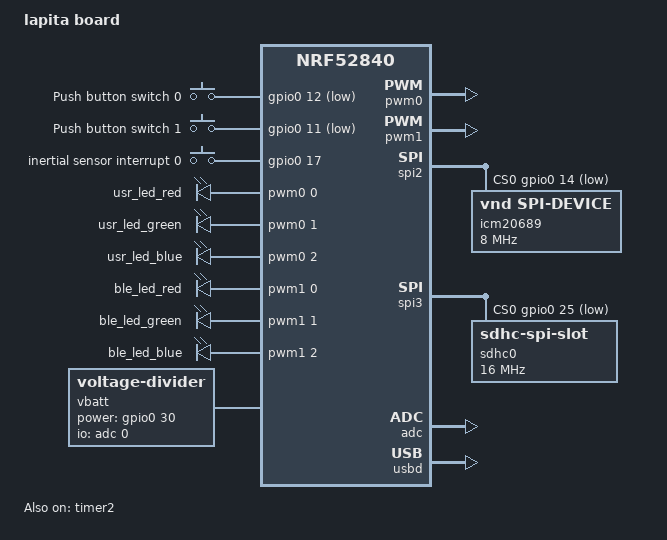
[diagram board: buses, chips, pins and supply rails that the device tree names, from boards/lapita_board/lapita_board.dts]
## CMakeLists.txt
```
#
# Copyright (c) 2018 Nordic Semiconductor
#
# SPDX-License-Identifier: LicenseRef-Nordic-5-Clause
#
cmake_minimum_required(VERSION 3.20.0)

find_package(Zephyr REQUIRED HINTS $ENV{ZEPHYR_BASE})
project(peripheral_lbs_1)

# NORDIC SDK APP START
target_sources(app PRIVATE
  src/main.c
)

# Add PID_v1.h and pid.cpp
#target_sources(app PRIVATE
#  src/*.cpp
#)
#啟用cpp
#target_compile_features(app PRIVATE cxx_std_11)
#set_property(TARGET app PROPERTY CXX_STANDARD 11)
#set_property(TARGET app PROPERTY CXX_STANDARD_REQUIRED ON)
#target_include_directories(app PRIVATE include)

#target_include_directories(app PRIVATE
#  ${CMAKE_CURRENT_SOURCE_DIR}/src

# Preinitialization related to Thingy:53 DFU
target_sources_ifdef(CONFIG_BOARD_THINGY53_NRF5340_CPUAPP app PRIVATE
  boards/thingy53.c
)
target_sources_ifdef(CONFIG_BOARD_THINGY53_NRF5340_CPUAPP_NS app PRIVATE
  boards/thingy53.c
)


# NORDIC SDK APP END
zephyr_library_include_directories(.)
```

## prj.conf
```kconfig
#
# Copyright (c) 2018 Nordic Semiconductor
#
# SPDX-License-Identifier: LicenseRef-Nordic-5-Clause
#
CONFIG_NCS_SAMPLES_DEFAULTS=y

CONFIG_BT=y
CONFIG_BT_PERIPHERAL=y
CONFIG_BT_DEVICE_NAME="Nordic_LBS"

# Enable the LBS service
CONFIG_BT_LBS=y
CONFIG_BT_LBS_POLL_BUTTON=y
CONFIG_DK_LIBRARY=y

CONFIG_SYSTEM_WORKQUEUE_STACK_SIZE=2048

CONFIG_SHELL=y
CONFIG_I2C=y
CONFIG_I2C_SHELL=y

CONFIG_LOG=n

CONFIG_SENSOR=y
CONFIG_SHT3XD=y

#enable cpp
#CONFIG_CPLUSPLUS=y
#CONFIG_STD_CPP17=y
#CONFIG_LIB_CPLUSPLUS=y
#CONFIG_NEWLIB_LIBC=y
```

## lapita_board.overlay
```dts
// To get started, press Ctrl+Space to bring up the completion menu and view the available nodes.

// You can also use the buttons in the sidebar to perform actions on nodes.
// Actions currently available include:

// * Enabling / disabling the node
// * Adding the bus to a bus
// * Removing the node
// * Connecting ADC channels

// For more help, browse the DeviceTree documentation at https: //docs.zephyrproject.org/latest/guides/dts/index.html
// You can also visit the nRF DeviceTree extension documentation at https: //nrfconnect.github.io/vscode-nrf-connect/devicetree/nrfdevicetree.html
&pinctrl {
	i2c0_default: i2c0_default {
		group1 {
			psels = <NRF_PSEL(TWIM_SDA, 0,7)>,
					<NRF_PSEL(TWIM_SCL, 1,9)>;
		};
	};

	i2c0_sleep: i2c0_sleep {
		group1 {
			psels = <NRF_PSEL(TWIM_SDA, 0,7)>,
					<NRF_PSEL(TWIM_SCL, 1,9)>;
			low-power-enable;
		};
	};
};

&i2c0 {
	status = "okay";
	pinctrl-0 = <&i2c0_default>;
	pinctrl-1 = <&i2c0_sleep>;
	pinctrl-names = "default", "sleep";
	mcp7940n: i2c-device@6F {
		compatible = "microchip,mcp7940n";
		reg = <0x6F>;
	};
	sht3xd@44 {
		compatible = "sensirion,sht3xd";
		reg = <0x44>;
	};
};
```

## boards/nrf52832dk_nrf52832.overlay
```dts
/*
 * Copyright (c) 2018-2019 Peter Bigot Consulting, LLC
 *
 * SPDX-License-Identifier: Apache-2.0
 */

&i2c0 {/* SDA P0.26, SCL P0.27, ALERT P1.10 */
	sht3xd@44 {
		compatible = "sensirion,sht3xd";
		reg = <0x44>;
		alert-gpios = <&gpio1 10 GPIO_ACTIVE_HIGH>;
	};
};
```

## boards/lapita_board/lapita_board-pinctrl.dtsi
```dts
// Copyright (c) 2023 Nordic Semiconductor ASA
// SPDX-License-Identifier: Apache-2.0

&pinctrl {
	spi3_default: spi3_default {
		group1 {
			psels = <NRF_PSEL(SPIM_SCK, 0, 19)>,
			        <NRF_PSEL(SPIM_MOSI, 0, 23)>,
			        <NRF_PSEL(SPIM_MISO, 0, 21)>;
		};
	};

	spi3_sleep: spi3_sleep {
		group1 {
			psels = <NRF_PSEL(SPIM_SCK, 0, 19)>,
			        <NRF_PSEL(SPIM_MOSI, 0, 23)>,
			        <NRF_PSEL(SPIM_MISO, 0, 21)>;
			low-power-enable;
		};
	};

	spi2_default: spi2_default {
		group1 {
			psels = <NRF_PSEL(SPIM_SCK, 0, 13)>,
			        <NRF_PSEL(SPIM_MOSI, 0, 15)>,
			        <NRF_PSEL(SPIM_MISO, 0, 16)>;
		};
	};

	spi2_sleep: spi2_sleep {
		group1 {
			psels = <NRF_PSEL(SPIM_SCK, 0, 13)>,
			        <NRF_PSEL(SPIM_MOSI, 0, 15)>,
			        <NRF_PSEL(SPIM_MISO, 0, 16)>;
			low-power-enable;
		};
	};

	pwm0_default: pwm0_default {
		group1 {
			psels = <NRF_PSEL(PWM_OUT0, 1, 1)>,
			        <NRF_PSEL(PWM_OUT1, 1, 3)>,
			        <NRF_PSEL(PWM_OUT2, 1, 5)>;
			nordic,invert;
		};
	};

	pwm0_sleep: pwm0_sleep {
		group1 {
			psels = <NRF_PSEL(PWM_OUT0, 1, 1)>,
			        <NRF_PSEL(PWM_OUT1, 1, 3)>,
			        <NRF_PSEL(PWM_OUT2, 1, 5)>;
			low-power-enable;
		};
	};

	pwm1_default: pwm1_default {
		group1 {
			psels = <NRF_PSEL(PWM_OUT0, 1, 7)>,
			        <NRF_PSEL(PWM_OUT1, 1, 6)>,
			        <NRF_PSEL(PWM_OUT2, 1, 4)>;
			nordic,invert;
		};
	};

	pwm1_sleep: pwm1_sleep {
		group1 {
			psels = <NRF_PSEL(PWM_OUT0, 1, 7)>,
			        <NRF_PSEL(PWM_OUT1, 1, 6)>,
			        <NRF_PSEL(PWM_OUT2, 1, 4)>;
			low-power-enable;
		};
	};
};
```

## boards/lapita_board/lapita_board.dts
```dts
// Copyright (c) 2023 Nordic Semiconductor ASA
// SPDX-License-Identifier: Apache-2.0

/dts-v1/;
#include <nordic/nrf52840_qiaa.dtsi>
#include "lapita_board-pinctrl.dtsi"

/ {
	model = "lapita board";
	compatible = "lapita,lapita-board";

	chosen {
		zephyr,sram = &sram0;
		zephyr,flash = &flash0;
		zephyr,code-partition = &slot0_partition;
	};

	buttons {
		compatible = "gpio-keys";
		button0: button_0 {
			gpios = <&gpio0 12 (GPIO_PULL_UP | GPIO_ACTIVE_LOW)>;
			label = "Push button switch 0";
		};
		button1: button_1 {
			gpios = <&gpio0 11 (GPIO_PULL_UP | GPIO_ACTIVE_LOW)>;
			label = "Push button switch 1";
		};
	};

	exti {
		compatible = "gpio-keys";
		motion_int_gpio: motion_int_gpio {
			gpios = <&gpio0 17 (GPIO_PULL_DOWN)>;
			label = "inertial sensor interrupt 0";
		};
	};

	pwmleds {
		compatible = "pwm-leds";
		usr_led_red: usr_led_red {
			pwms = <&pwm0 0 PWM_MSEC(20) PWM_POLARITY_INVERTED>;
		};
		usr_led_green: usr_led_green {
			pwms = <&pwm0 1 PWM_MSEC(20) PWM_POLARITY_INVERTED>;
		};
		usr_led_blue: usr_led_blue {
			pwms = <&pwm0 2 PWM_MSEC(20) PWM_POLARITY_INVERTED>;
		};
		ble_led_red: ble_led_red {
			pwms = <&pwm1 0 PWM_MSEC(20) PWM_POLARITY_INVERTED>;
		};
		ble_led_green: ble_led_green {
			pwms = <&pwm1 1 PWM_MSEC(20) PWM_POLARITY_INVERTED>;
		};
		ble_led_blue: ble_led_blue {
			pwms = <&pwm1 2 PWM_MSEC(20) PWM_POLARITY_INVERTED>;
		};
	};

	vbatt {
		compatible = "voltage-divider";
		io-channels = <&adc 0>;
		output-ohms = <1000000>;
		full-ohms = <(1000000 + 180000)>;
		power-gpios = <&gpio0 30 (GPIO_ACTIVE_HIGH)>;
	};
};

&flash0 {
	partitions {
		compatible = "fixed-partitions";
		#address-cells = <1>;
		#size-cells = <1>;

		boot_partition: partition@0 {
			label = "mcuboot";
			reg = <0x00000000 0x0000C000>;
		};
		slot0_partition: partition@c000 {
			label = "image-0";
			reg = <0x0000C000 0x0006E000>;
		};
		slot1_partition: partition@7A000 {
			label = "image-1";
			reg = <0x0007A000 0x0006E000>;
		};
		scratch_partition: partition@E8000 {
			label = "image-scratch";
			reg = <0x000E8000 0x00010000>;
		};

		/*
		 * The flash starting at 0x000f8000 and ending at
		 * 0x000fffff is reserved for use by the application.
		 */

		/*
		 * Storage partition will be used by FCB/LittleFS/NVS
		 * if enabled.
		 */
		storage_partition: partition@f8000 {
			label = "storage";
			reg = <0x000f8000 0x00008000>;
		};
	};
};

&gpio0 {
	status = "okay";
};

&gpio1 {
	status = "okay";
};

&pwm0 {
	status = "okay";
	pinctrl-0 = <&pwm0_default>;
	pinctrl-1 = <&pwm0_sleep>;
	pinctrl-names = "default", "sleep";
};

&pwm1 {
	status = "okay";
	pinctrl-0 = <&pwm1_default>;
	pinctrl-1 = <&pwm1_sleep>;
	pinctrl-names = "default", "sleep";
};

&spi2 {
	status = "okay";
	pinctrl-0 = <&spi2_default>;
	pinctrl-1 = <&spi2_sleep>;
	pinctrl-names = "default", "sleep";
	cs-gpios = <&gpio0 14 GPIO_ACTIVE_LOW>;
	icm20689: spi-device@0 {
		compatible = "vnd,spi-device";
		reg = <0>;
		spi-max-frequency = <DT_FREQ_M(8)>;
	};
};

&spi3 {
	status = "okay";
	pinctrl-0 = <&spi3_default>;
	pinctrl-1 = <&spi3_sleep>;
	pinctrl-names = "default", "sleep";
	cs-gpios = <&gpio0 25 GPIO_ACTIVE_LOW>;

	sdhc0: sdhc@0 {
			compatible = "zephyr,sdhc-spi-slot";
			reg = <0>;
			status = "okay";
			mmc {
				compatible = "zephyr,sdmmc-disk";
				status = "okay";
			};
			spi-max-frequency = <DT_FREQ_M(16)>;
	};
};


&timer2 {
	status = "okay";
	prescaler = < 4 >;
};

&adc {
	status = "okay";
};

zephyr_udc0: &usbd {
	compatible = "nordic,nrf-usbd";
	status = "okay";
};
```

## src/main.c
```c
/*
 * Copyright (c) 2018 Nordic Semiconductor ASA
 *
 * SPDX-License-Identifier: LicenseRef-Nordic-5-Clause
 */

#include <zephyr/types.h>
#include <stddef.h>
#include <string.h>
#include <errno.h>
#include <zephyr/sys/printk.h>
#include <zephyr/sys/byteorder.h>
#include <zephyr/kernel.h>
#include <zephyr/drivers/gpio.h>
#include <soc.h>

// sht3x
#include <zephyr/drivers/i2c.h>
#include <zephyr/drivers/sensor.h>
struct sensor_value temp, press, humidity;
#define SHT31_I2C_ADDRESS 0x44 // SHT31 的 I2C 地址

#include <zephyr/bluetooth/bluetooth.h>
#include <zephyr/bluetooth/hci.h>
#include <zephyr/bluetooth/conn.h>
#include <zephyr/bluetooth/uuid.h>
#include <zephyr/bluetooth/gatt.h>

#include <bluetooth/services/lbs.h>

#include <zephyr/settings/settings.h>

#include <dk_buttons_and_leds.h>

#define DEVICE_NAME CONFIG_BT_DEVICE_NAME
#define DEVICE_NAME_LEN (sizeof(DEVICE_NAME) - 1)

#define RUN_STATUS_LED DK_LED1
#define CON_STATUS_LED DK_LED2
#define RUN_LED_BLINK_INTERVAL 1000

#define USER_LED DK_LED3

#define USER_BUTTON DK_BTN1_MSK

static bool app_button_state;

static const struct bt_data ad[] = {
	BT_DATA_BYTES(BT_DATA_FLAGS, (BT_LE_AD_GENERAL | BT_LE_AD_NO_BREDR)),
	BT_DATA(BT_DATA_NAME_COMPLETE, DEVICE_NAME, DEVICE_NAME_LEN),
};

static const struct bt_data sd[] = {
	BT_DATA_BYTES(BT_DATA_UUID128_ALL, BT_UUID_LBS_VAL),
};

static void connected(struct bt_conn *conn, uint8_t err)
{
	if (err)
	{
		printk("Connection failed (err %u)\n", err);
		return;
	}

	printk("Connected\n");

	dk_set_led_on(CON_STATUS_LED);
}

static void disconnected(struct bt_conn *conn, uint8_t reason)
{
	printk("Disconnected (reason %u)\n", reason);

	dk_set_led_off(CON_STATUS_LED);
}

#ifdef CONFIG_BT_LBS_SECURITY_ENABLED
static void security_changed(struct bt_conn *conn, bt_security_t level,
							 enum bt_security_err err)
{
	char addr[BT_ADDR_LE_STR_LEN];

	bt_addr_le_to_str(bt_conn_get_dst(conn), addr, sizeof(addr));

	if (!err)
	{
		printk("Security changed: %s level %u\n", addr, level);
	}
	else
	{
		printk("Security failed: %s level %u err %d\n", addr, level,
			   err);
	}
}
#endif

BT_CONN_CB_DEFINE(conn_callbacks) = {
	.connected = connected,
	.disconnected = disconnected,
#ifdef CONFIG_BT_LBS_SECURITY_ENABLED
	.security_changed = security_changed,
#endif
};

#if defined(CONFIG_BT_LBS_SECURITY_ENABLED)
static void auth_passkey_display(struct bt_conn *conn, unsigned int passkey)
{
	char addr[BT_ADDR_LE_STR_LEN];

	bt_addr_le_to_str(bt_conn_get_dst(conn), addr, sizeof(addr));

	printk("Passkey for %s: %06u\n", addr, passkey);
}

static void auth_cancel(struct bt_conn *conn)
{
	char addr[BT_ADDR_LE_STR_LEN];

	bt_addr_le_to_str(bt_conn_get_dst(conn), addr, sizeof(addr));

	printk("Pairing cancelled: %s\n", addr);
}

static void pairing_complete(struct bt_conn *conn, bool bonded)
{
	char addr[BT_ADDR_LE_STR_LEN];

	bt_addr_le_to_str(bt_conn_get_dst(conn), addr, sizeof(addr));

	printk("Pairing completed: %s, bonded: %d\n", addr, bonded);
}

static void pairing_failed(struct bt_conn *conn, enum bt_security_err reason)
{
	char addr[BT_ADDR_LE_STR_LEN];

	bt_addr_le_to_str(bt_conn_get_dst(conn), addr, sizeof(addr));

	printk("Pairing failed conn: %s, reason %d\n", addr, reason);
}

static struct bt_conn_auth_cb conn_auth_callbacks = {
	.passkey_display = auth_passkey_display,
	.cancel = auth_cancel,
};

static struct bt_conn_auth_info_cb conn_auth_info_callbacks = {
	.pairing_complete = pairing_complete,
	.pairing_failed = pairing_failed};
#else
static struct bt_conn_auth_cb conn_auth_callbacks;
static struct bt_conn_auth_info_cb conn_auth_info_callbacks;
#endif

static void app_led_cb(bool led_state)
{
	dk_set_led(USER_LED, led_state);
}

static bool app_button_cb(void)
{
	return app_button_state;
}

static struct bt_lbs_cb lbs_callbacs = {
	.led_cb = app_led_cb,
	.button_cb = app_button_cb,
};

static void button_changed(uint32_t button_state, uint32_t has_changed)
{
	if (has_changed & USER_BUTTON)
	{
		uint32_t user_button_state = button_state & USER_BUTTON;

		bt_lbs_send_button_state(user_button_state);
		app_button_state = user_button_state ? true : false;
	}
}

static int init_button(void)
{
	int err;

	err = dk_buttons_init(button_changed);
	if (err)
	{
		printk("Cannot init buttons (err: %d)\n", err);
	}

	return err;
}

void main(void)
{
	int16_t temperature, humidity;
	uint8_t read_buf[6]; // 根据传感器的数据格式调整大小
	static const struct device *twi_dev = DEVICE_DT_GET(DT_NODELABEL(i2c0));
	// const struct device *const dev = DEVICE_DT_GET_ONE(sensirion_sht3xd);
	int rc;
	if (!device_is_ready(twi_dev))
	{
		printk("error. twi_dev is not ready\n");
	}
	else
	{
		printk("twi_dev is ready\n");
	}

	int blink_status = 0;
	int err;

	printk("Starting Bluetooth Peripheral LBS example\n");

	err = dk_leds_init();
	if (err)
	{
		printk("LEDs init failed (err %d)\n", err);
		return;
	}

	err = init_button();
	if (err)
	{
		printk("Button init failed (err %d)\n", err);
		return;
	}

	if (IS_ENABLED(CONFIG_BT_LBS_SECURITY_ENABLED))
	{
		err = bt_conn_auth_cb_register(&conn_auth_callbacks);
		if (err)
		{
			printk("Failed to register authorization callbacks.\n");
			return;
		}

		err = bt_conn_auth_info_cb_register(&conn_auth_info_callbacks);
		if (err)
		{
			printk("Failed to register authorization info callbacks.\n");
			return;
		}
	}

	err = bt_enable(NULL);
	if (err)
	{
		printk("Bluetooth init failed (err %d)\n", err);
		return;
	}

	printk("Bluetooth initialized\n");

	if (IS_ENABLED(CONFIG_SETTINGS))
	{
		settings_load();
	}

	err = bt_lbs_init(&lbs_callbacs);
	if (err)
	{
		printk("Failed to init LBS (err:%d)\n", err);
		return;
	}

	err = bt_le_adv_start(BT_LE_ADV_CONN, ad, ARRAY_SIZE(ad),
						  sd, ARRAY_SIZE(sd));
	if (err)
	{
		printk("Advertising failed to start (err %d)\n", err);
		return;
	}

	printk("Advertising successfully started\n");

	for (;;)
	{
		dk_set_led(RUN_STATUS_LED, (++blink_status) % 2);
		// k_sleep(K_MSEC(RUN_LED_BLINK_INTERVAL)); // you can try changing this value
		//  rc = sensor_sample_fetch(twi_dev);
		uint8_t cmd[] = {0x24, 0x00}; // 高重复性，时钟拉低
		uint8_t rx_buf[6];			  // 接收缓冲区

		// 发送测量命令
		if (i2c_write(twi_dev, cmd, sizeof(cmd), SHT31_I2C_ADDRESS) != 0)
		{
			printk("Failed to write measurement command\n");
			return;
		}

		// 等待测量完成
		k_sleep(K_MSEC(20)); // 等待足够的测量时间

		// 读取测量结果
		if (i2c_read(twi_dev, rx_buf, sizeof(rx_buf), SHT31_I2C_ADDRESS) != 0)
		{
			printk("Failed to read data\n");
			return;
		}

		// 计算并显示温度和湿度
		int temp = (rx_buf[0] << 8) | rx_buf[1];
		int humidity = (rx_buf[3] << 8) | rx_buf[4];

		printk("Temperature: %.2f C\n", -45 + (175 * temp / 65535.0));
		printk("Humidity: %.2f %%RH\n", 100 * humidity / 65535.0);
		// printk("Temperature: %d.%06d C\n", temp.val1, temp.val2);
		// printk("Humidity: %d.%06d %%RH\n", humidity.val1, humidity.val2);
		//  k_msleep(delay_time);
	}
}
```
